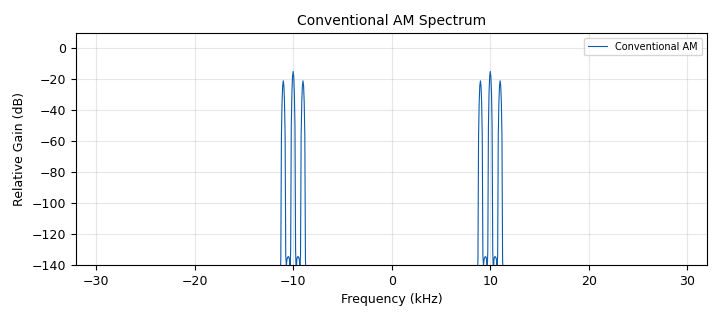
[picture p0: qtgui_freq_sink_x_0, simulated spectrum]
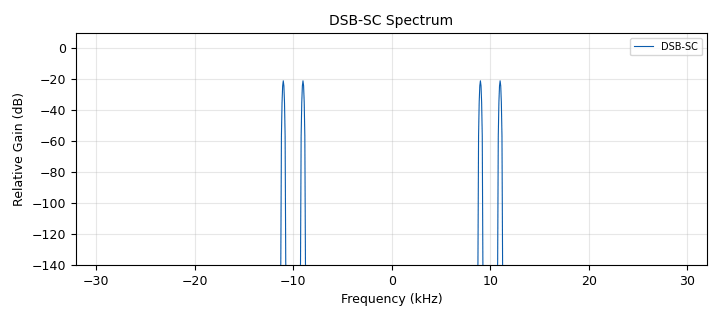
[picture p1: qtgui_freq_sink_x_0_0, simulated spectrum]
options:
  parameters:
    author: Dhrubjun
    generate_options: qt_gui
    id: exp4
    output_language: python
    title: Conventional AM vs DSB-SC
  states: {}

blocks:
- name: carrier_freq
  id: variable
  parameters:
    value: '10000'
  states: {}
- name: message_freq
  id: variable
  parameters:
    value: '1000'
  states: {}
- name: samp_rate
  id: variable
  parameters:
    value: '64000'
  states: {}
- name: analog_const_source_x_0
  id: analog_const_source_x
  parameters:
    const: '1'
    type: float
  states: {}
- name: analog_sig_source_x_0
  id: analog_sig_source_x
  parameters:
    amp: '1'
    freq: message_freq
    offset: '0'
    phase: '0'
    samp_rate: samp_rate
    type: float
    waveform: analog.GR_COS_WAVE
  states: {}
- name: analog_sig_source_x_0_0
  id: analog_sig_source_x
  parameters:
    amp: '1'
    freq: carrier_freq
    offset: '0'
    phase: '0'
    samp_rate: samp_rate
    type: float
    waveform: analog.GR_COS_WAVE
  states: {}
- name: blocks_add_xx_0
  id: blocks_add_xx
  parameters:
    type: float
  states: {}
- name: blocks_multiply_xx_0
  id: blocks_multiply_xx
  parameters:
    type: float
  states: {}
- name: blocks_multiply_xx_0_0
  id: blocks_multiply_xx
  parameters:
    type: float
  states: {}
- name: blocks_throttle2_0
  id: blocks_throttle2
  parameters:
    samples_per_second: samp_rate
    type: float
  states: {}
- name: blocks_throttle2_0_0
  id: blocks_throttle2
  parameters:
    samples_per_second: samp_rate
    type: float
  states: {}
- name: qtgui_freq_sink_x_0
  id: qtgui_freq_sink_x
  parameters:
    bw: samp_rate
    fc: '0'
    fftsize: '1024'
    label1: Conventional AM
    name: Conventional AM Spectrum
    type: float
  states: {}
- name: qtgui_freq_sink_x_0_0
  id: qtgui_freq_sink_x
  parameters:
    bw: samp_rate
    fc: '0'
    fftsize: '1024'
    label1: DSB-SC
    name: DSB-SC Spectrum
    type: float
  states: {}

connections:
- [analog_const_source_x_0, '0', blocks_add_xx_0, '1']
- [analog_sig_source_x_0, '0', blocks_add_xx_0, '0']
- [analog_sig_source_x_0, '0', blocks_multiply_xx_0_0, '0']
- [analog_sig_source_x_0_0, '0', blocks_multiply_xx_0, '1']
- [analog_sig_source_x_0_0, '0', blocks_multiply_xx_0_0, '1']
- [blocks_add_xx_0, '0', blocks_multiply_xx_0, '0']
- [blocks_multiply_xx_0, '0', blocks_throttle2_0, '0']
- [blocks_multiply_xx_0_0, '0', blocks_throttle2_0_0, '0']
- [blocks_throttle2_0, '0', qtgui_freq_sink_x_0, '0']
- [blocks_throttle2_0_0, '0', qtgui_freq_sink_x_0_0, '0']

metadata:
  file_format: 1
  grc_version: 3.10.12.0
